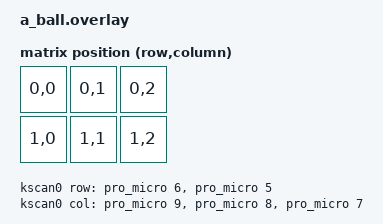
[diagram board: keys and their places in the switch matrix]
#include <dt-bindings/zmk/matrix_transform.h>
#include <input/processors.dtsi>
#include <dt-bindings/zmk/input_transform.h>
#include "a_ball.dtsi"

/ {
    chosen {
        zmk,kscan = &kscan0;
	zmk,matrix_transform = &default_transform;
    };

    default_transform: keymap_transform_0 {
        compatible = "zmk,matrix-transform";
        columns = <3>;
        rows = <2>;
        map = <
		RC(0,0) RC(0,1) RC(0,2) 
		RC(1,0) RC(1,1) RC(1,2) 
        >;
    };

    kscan0: kscan_0 {
        compatible = "zmk,kscan-gpio-matrix";
        label = "KSCAN";
        diode-direction = "col2row";

        col-gpios
            = <&pro_micro 9 GPIO_ACTIVE_HIGH>
            , <&pro_micro 8 GPIO_ACTIVE_HIGH>
            , <&pro_micro 7 GPIO_ACTIVE_HIGH>
            ;

        row-gpios
            = <&pro_micro 6 (GPIO_ACTIVE_HIGH | GPIO_PULL_DOWN)>
            , <&pro_micro 5 (GPIO_ACTIVE_HIGH | GPIO_PULL_DOWN)>
            ;
    };

};
                              
&pinctrl {
    spi0_default: spi0_default {
        group1 {
            psels = <NRF_PSEL(SPIM_SCK, 1, 13)>,
                <NRF_PSEL(SPIM_MOSI, 0, 10)>,
                <NRF_PSEL(SPIM_MISO, 0, 10)>;
        };
    };

    spi0_sleep: spi0_sleep {
        group1 {
            psels = <NRF_PSEL(SPIM_SCK, 1, 13)>,
                <NRF_PSEL(SPIM_MOSI, 0, 10)>,
                <NRF_PSEL(SPIM_MISO, 0, 10)>;
            low-power-enable;
        };
    };
};

#include <zephyr/dt-bindings/input/input-event-codes.h>

&spi0 {
    status = "okay";
    compatible = "nordic,nrf-spim";
    pinctrl-0 = <&spi0_default>;
    pinctrl-1 = <&spi0_sleep>;
    pinctrl-names = "default", "sleep";
    cs-gpios = <&gpio1 15 GPIO_ACTIVE_LOW>;

    trackball: trackball@0 {
        status = "okay";
        compatible = "pixart,pmw3610";
        reg = <0>;
        spi-max-frequency = <2000000>;
        irq-gpios = <&gpio0 8 (GPIO_ACTIVE_LOW | GPIO_PULL_UP)>;
        cpi = <600>;
        evt-type = <INPUT_EV_REL>;
        x-input-code = <INPUT_REL_X>;
        y-input-code = <INPUT_REL_Y>;

        force-awake;
        /* keep the sensor awake while ZMK activity state is ACTIVE,
           fallback to normal downshift mode after ZMK goes into IDLE / SLEEP mode.
           thus, the sensor would be a `wakeup-source` */
    };
};

/ {
  trackball_listener {
    compatible = "zmk,input-listener";
    device = <&trackball>;
    /* base processor chain on all layers */
    /* input-processors = <&zip_xy_scaler 5 5>; */

    /* layer-1 left hand pointer */
    left_hand_pointer: left_hand_pointer {
        layers           = <0>;
	// No transformations for the default hand/layer.
        // input-processors = <
        //    &zip_xy_transform (INPUT_TRANSFORM_Y_INVERT) // Inverts the scroll direction
        // >;
    };

    /* layer-2 right hand pointer */
    right_hand_pointer: right_hand_pointer {
        layers           = <1>;
        input-processors = <
            &zip_xy_transform (INPUT_TRANSFORM_XY_SWAP) // Inverts the pointer direction
        >;
    };

    /* layer-3 left hand scroll override */
    left_hand_scroller: left_hand_scroller {
        layers           = <2>;
        input-processors = <
            &zip_xy_scaler 1 15                              // Scales the scroll speed
            &zip_xy_to_scroll_mapper                         // Converts XY movement to scroll events
							     // Leave the scroll direction as-is
            &zip_scroll_transform (INPUT_TRANSFORM_Y_INVERT) // Inverts the scroll direction
        >;
    };

    /* layer-4 right scroll override */
    right_hand_scroller: right_hand_scroller {
        layers           = <3>;
        input-processors = <
            &zip_xy_scaler 1 15                              // Scales the scroll speed
            &zip_xy_to_scroll_mapper                         // Converts XY movement to scroll events
            &zip_xy_transform (INPUT_TRANSFORM_XY_SWAP) // Inverts the pointer direction
            &zip_scroll_transform (INPUT_TRANSFORM_Y_INVERT) // Inverts the scroll direction
        >;
    };



  };
};
